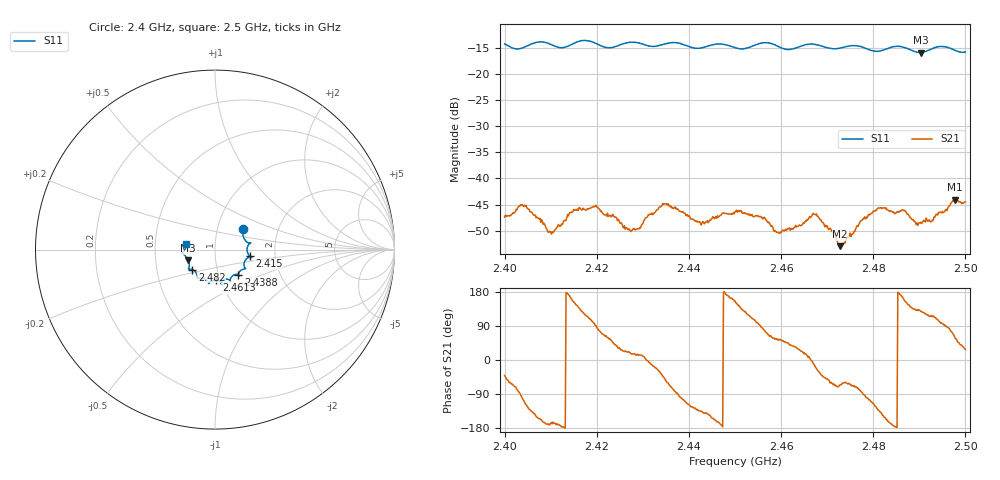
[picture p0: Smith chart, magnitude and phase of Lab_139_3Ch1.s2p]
# Hz S RI R 50
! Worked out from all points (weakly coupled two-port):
!   601 points, 2.4 GHz to 2.5 GHz, reference 50 ohm
!   highest |S21| = -44.04 dB at 2.4977 GHz (marker M1); lowest = -53.0 dB at 2.4728 GHz (marker M2)
!   lowest |S11| = -15.9 dB at 2.4903 GHz (marker M3), VSWR 1.38, Z = 36.8 - j4.45 ohm
!   |S11| at or under -10 dB: start of sweep to end of sweep
!   S12 and S22 are empty: the file has one direction only
!   S11 on the Smith chart (normalised r, x): 2.4 GHz: 1.33, +0.31; 2.415 GHz: 1.47, -0.11; 2.4388 GHz: 1.24, -0.36; 2.4613 GHz: 0.96, -0.34; 2.482 GHz: 0.76, -0.17; 2.5 GHz: 0.72, +0.05
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2.4e9  0.158 0.1122  0.00321 -0.0028  0 0  0 0
2.404167e9  0.1736 0.0464  -0.00159 -0.00515  0 0  0 0
2.41e9  0.1895 0.031  -0.00303 -0.000645  0 0  0 0
2.415e9  0.1924 -0.0362  -0.00447 0.00235  0 0  0 0
2.416667e9  0.2035 -0.0441  -0.00316 0.00388  0 0  0 0
2.42e9  0.1896 -0.0427  0.000441 0.00531  0 0  0 0
2.427333e9  0.1714 -0.1053  0.00296 0.000913  0 0  0 0
2.433333e9  0.1321 -0.1315  0.00454 -0.0023  0 0  0 0
2.435e9  0.131 -0.1441  0.00337 -0.00463  0 0  0 0
2.438833e9  0.1297 -0.1406  -0.00121 -0.00455  0 0  0 0
2.443e9  0.091 -0.1538  -0.00288 -0.00257  0 0  0 0
2.45e9  0.069 -0.165  -0.00439 0.00196  0 0  0 0
2.456e9  0.0366 -0.195  0.000439 0.00408  0 0  0 0
2.459333e9  0.031 -0.1813  0.00175 0.00249  0 0  0 0
2.461333e9  0.00774 -0.1714  0.00231 0.00236  0 0  0 0
2.466667e9  -0.0349 -0.1901  0.00438 -0.000205  0 0  0 0
2.472833e9  -0.0761 -0.1598  0.00095 -0.00204  0 0  0 0
2.482e9  -0.1259 -0.1116  -0.00432 -0.00293  0 0  0 0
2.483333e9  -0.1395 -0.1087  -0.00475 -0.00138  0 0  0 0
2.490333e9  -0.1491 -0.059  -0.00236 0.003  0 0  0 0
2.497667e9  -0.1691 -0.00446  0.00304 0.0055  0 0  0 0
2.5e9  -0.159 0.0325  0.00527 0.00278  0 0  0 0
